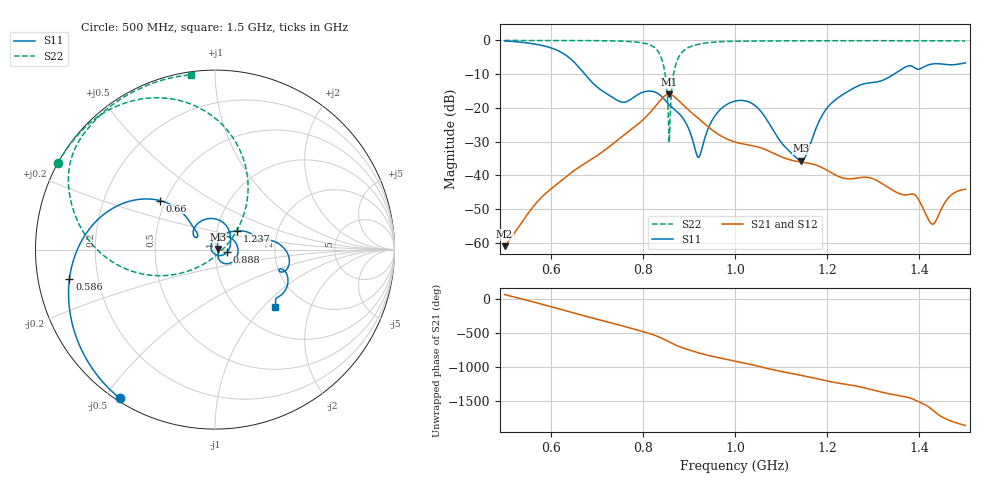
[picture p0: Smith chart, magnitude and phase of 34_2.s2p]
! TOUCHSTONE file generated by CST MICROWAVE STUDIO
! Date and time: Fri Oct  2 16:19:39 2020
! Project name: Scenario_1_Free_Space_out_of_line.cst
! Parameters = {Lambda=346.42; Step_1=17.321; dy1=-224.613; dx1=346; L_HA=400; MT=2.54; Rad_Dielectric=30; Rad_Lower=7.3; Rad_Upper=30; a_HA=580; a_WG=246; b_HA=500; b_WG=121; c_HA=0; c_WG=187; d_feed=85; h_feed=15; h_lower=18; h_upper=40}
! Header version: 2018
! Port assignment regex: !\s*Touchstone port\s*([0-9]+)\s*=\s*(CST MWS port|CST DS port)\s*([0-9]+|Zmin|Zmax)\s*\(\"(.*)\"\)(\s*mode\s*([0-9]+))?.*
! Touchstone port assignment:
! Touchstone port 1 = CST MWS port 1 ("")
! Touchstone port 2 = CST MWS port 2 ("")
# GHz S DB R 50
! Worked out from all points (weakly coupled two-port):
!   1003 points, 500 MHz to 1.5 GHz, reference 50 ohm
!   highest |S21| = -15.97 dB at 856 MHz (marker M1); lowest = -61.0 dB at 500 MHz (marker M2)
!   lowest |S11| = -35.7 dB at 1.144 GHz (marker M3), VSWR 1.03, Z = 51.6 + j0.359 ohm
!   |S11| at or under -10 dB: 674.2 MHz to 1.345 GHz (670.7 MHz wide, 66.4 % of centre)
!   |S22| runs from -30.3 to 0.0 dB; largest |S21 - S12| = 2.9e-06
!   S11 on the Smith chart (normalised r, x): 500 MHz: 0.01, -0.55; 586 MHz: 0.10, -0.10; 660 MHz: 0.47, +0.31; 888 MHz: 1.14, -0.03; 1.237 GHz: 1.25, +0.27; 1.5 GHz: 1.44, -1.18
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0.5  -0.15 -122.7  -61.00 68.1  -61.00 68.1  -0.01 151.1
0.586  -1.64 -168.5  -45.73 -85.0  -45.74 -85.0  -0.02 145.2
0.66  -7.75 138.2  -37.71 138.4  -37.71 138.4  -0.04 139.0
0.667  -8.85 135.0  -37.10 125.5  -37.10 125.5  -0.04 138.3
0.751  -18.16 141.0  -28.93 -22.8  -28.93 -22.8  -0.20 127.1
0.8  -15.36 129.3  -23.55 -115.8  -23.55 -115.8  -0.75 112.9
0.834  -15.86 76.9  -18.36 168.1  -18.36 168.1  -3.47 84.3
0.846  -17.36 56.1  -16.59 131.5  -16.59 131.5  -8.12 62.0
0.856  -18.88 41.5  -15.97 96.4  -15.97 96.4  -25.21 12.9
0.869  -20.50 23.1  -16.76 52.4  -16.76 52.4  -8.44 -157.7
0.888  -23.26 -12.7  -19.21 1.2  -19.21 1.2  -3.11 176.2
0.921  -34.69 -152.6  -23.20 -68.6  -23.20 -68.6  -1.12 157.8
0.955  -22.65 76.4  -27.02 -126.5  -27.02 -126.5  -0.49 148.2
1  -17.98 7.6  -30.11 170.2  -30.11 170.2  -0.24 140.2
1.047  -19.73 -49.9  -31.48 99.9  -31.48 99.9  -0.18 134.7
1.144  -35.66 12.2  -36.06 -39.2  -36.06 -39.2  -0.10 126.0
1.167  -29.29 65.2  -36.60 -73.3  -36.60 -73.3  -0.10 124.2
1.237  -15.79 39.8  -40.87 -166.7  -40.87 -166.7  -0.08 118.8
1.334  -10.91 11.4  -43.72 51.0  -43.72 51.0  -0.09 111.5
1.391  -8.21 -18.7  -45.86 -42.5  -45.86 -42.5  -0.10 107.0
1.429  -6.96 -25.7  -54.49 169.5  -54.49 169.5  -0.11 104.0
1.5  -6.65 -43.7  -44.10 -55.3  -44.10 -55.3  -0.14 97.9
